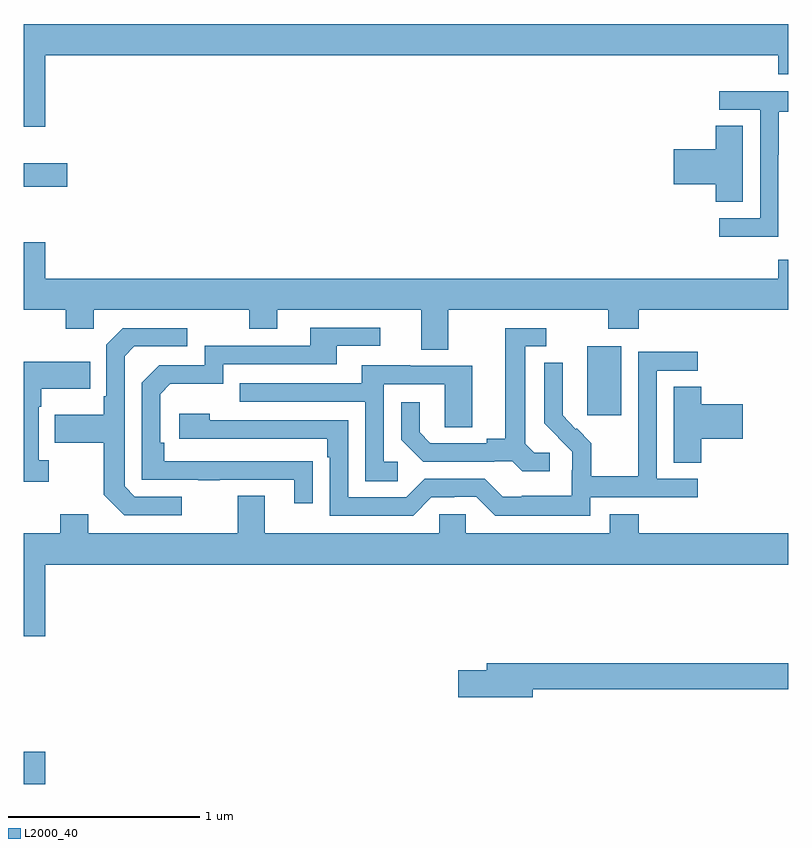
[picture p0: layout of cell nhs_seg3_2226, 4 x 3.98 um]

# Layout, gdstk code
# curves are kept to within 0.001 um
import gdstk
lib = gdstk.Library(unit=1e-6, precision=1e-09)
def R(c, l, rs):  # rectangles x0, y0, x1, y1
    for r in rs: c.add(gdstk.rectangle(r[:2], r[2:], *l))
def P(c, l, *ps):  # polygons
    for p in ps: c.add(gdstk.Polygon(p, *l))
L2000_40 = (2000, 40)

nhs_seg3_2226 = lib.new_cell('nhs_seg3_2226')
R(nhs_seg3_2226, L2000_40, [(225,734.4,225.112,734.569), (227.948,736.329,228.127,736.69), (225,737.525,225.229,737.647)])
P(nhs_seg3_2226, L2000_40, [(225.112,738.212),(228.947,738.212),(228.947,738.113),(229,738.113),(229,738.376),(225,738.376),(225,737.838),(225.112,737.838)],
  [(228.948,737.692),(228.951,737.692),(228.951,737.916),(229,737.916),(229,738.024),(228.639,738.024),(228.639,737.928),(228.852,737.928),(228.852,737.361),(228.639,737.361),(228.639,737.263),(228.948,737.263)],
  [(228.763,737.843),(228.62,737.843),(228.62,737.72),(228.402,737.72),(228.402,737.537),(228.62,737.537),(228.62,737.446),(228.763,737.446)],
  [(227.221,736.88),(228.058,736.88),(228.058,736.781),(228.218,736.781),(228.218,736.88),(229,736.88),(229,737.143),(228.947,737.143),(228.947,737.044),(225.112,737.044),(225.112,737.233),(225,737.233),(225,736.88),(225.22,736.88),(225.22,736.781),(225.366,736.781),(225.366,736.88),(226.18,736.88),(226.18,736.781),(226.327,736.781),(226.327,736.88),(227.081,736.88),(227.081,736.672),(227.221,736.672)],
  [(226.511,736.088),(225.734,736.089),(225.734,736.186),(225.714,736.186),(225.714,736.44),(225.767,736.493),(226.044,736.493),(226.044,736.596),(226.639,736.596),(226.639,736.692),(226.864,736.692),(226.864,736.788),(226.499,736.788),(226.499,736.692),(225.948,736.692),(225.948,736.59),(225.708,736.59),(225.618,736.5),(225.618,735.993),(225.913,735.993),(225.913,735.988),(226.025,735.988),(226.025,735.993),(226.415,735.993),(226.415,735.87),(226.511,735.87)],
  [(227.752,736.134),(227.67,736.134),(227.623,736.181),(227.623,736.689),(227.734,736.689),(227.734,736.785),(227.519,736.785),(227.519,736.205),(227.423,736.205),(227.423,736.182),(227.128,736.182),(227.071,736.239),(227.071,736.396),(226.974,736.396),(226.974,736.202),(227.09,736.086),(227.462,736.086),(227.462,736.089),(227.556,736.089),(227.608,736.037),(227.752,736.037)],
  [(225.826,735.903),(225.582,735.903),(225.528,735.957),(225.528,736.638),(225.579,736.689),(225.856,736.689),(225.856,736.785),(225.519,736.785),(225.432,736.698),(225.432,736.429),(225.42,736.429),(225.42,736.333),(225.163,736.333),(225.163,736.186),(225.42,736.186),(225.42,735.913),(225.525,735.807),(225.826,735.807)],
  [(227.964,735.9),(228.526,735.9),(228.526,735.996),(228.312,735.996),(228.312,736.563),(228.526,736.563),(228.526,736.662),(228.216,736.662),(228.216,736.232),(228.214,736.232),(228.214,736.009),(227.969,736.009),(227.969,736.183),(227.892,736.26),(227.889,736.257),(227.819,736.328),(227.82,736.604),(227.724,736.604),(227.724,736.286),(227.87,736.138),(227.87,736.041),(227.868,736.041),(227.868,735.907),(227.605,735.907),(227.605,735.903),(227.505,735.903),(227.412,735.996),(227.097,735.996),(227.001,735.9),(226.698,735.9),(226.698,736.302),(225.974,736.302),(225.974,736.336),(225.813,736.336),(225.813,736.206),(226.589,736.206),(226.589,736.109),(226.602,736.109),(226.602,735.804),(227.037,735.804),(227.133,735.9),(227.252,735.9),(227.252,735.903),(227.367,735.903),(227.467,735.803),(227.964,735.803)],
  [(225.13,736.094),(225.078,736.094),(225.078,736.373),(225.091,736.373),(225.091,736.469),(225.347,736.469),(225.347,736.609),(225,736.609),(225,735.981),(225.13,735.981)],
  [(226.957,736.086),(226.884,736.086),(226.884,736.491),(227.202,736.491),(227.202,736.267),(227.347,736.267),(227.347,736.587),(227.023,736.587),(227.023,736.591),(226.769,736.591),(226.769,736.497),(226.129,736.497),(226.129,736.401),(226.788,736.401),(226.788,735.985),(226.957,735.985)],
  [(228.545,736.205),(228.763,736.205),(228.763,736.388),(228.545,736.388),(228.545,736.478),(228.401,736.478),(228.401,736.081),(228.545,736.081)],
  [(225.112,735.548),(229,735.548),(229,735.712),(228.218,735.712),(228.218,735.811),(228.065,735.811),(228.065,735.712),(227.313,735.712),(227.313,735.81),(227.175,735.81),(227.175,735.712),(226.261,735.712),(226.261,735.907),(226.121,735.907),(226.121,735.712),(225.337,735.712),(225.337,735.811),(225.19,735.811),(225.19,735.712),(225,735.712),(225,735.174),(225.112,735.174)],
  [(227.662,734.896),(229,734.896),(229,735.032),(227.423,735.032),(227.423,734.996),(227.274,734.996),(227.274,734.854),(227.662,734.854)])

lib.write_gds('nhs_seg3_2226.gds')
